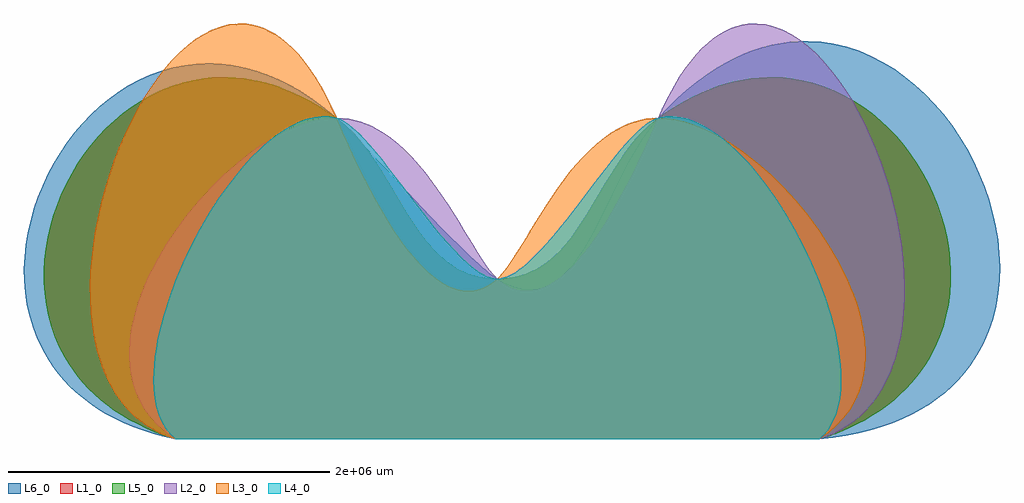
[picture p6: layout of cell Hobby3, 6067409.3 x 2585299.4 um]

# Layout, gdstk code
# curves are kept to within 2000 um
import gdstk
lib = gdstk.Library(unit=1e-6, precision=1e-07)
def P(c, l, *ps):  # polygons
    for p in ps: c.add(gdstk.Polygon(p, *l))
L1_0 = (1, 0)
L2_0 = (2, 0)
L3_0 = (3, 0)
L4_0 = (4, 0)
L5_0 = (5, 0)
L6_0 = (6, 0)

hobby3 = lib.new_cell('Hobby3')
P(hobby3, L1_0, [(0,0),(-62580.6,20590.8),(-179523.3,67139.6),(-233950.8,92966.9),(-334881.4,149400.4),(-381449.9,179876),(-466956.5,245017.9),(-542507.3,315311.9),(-608363.6,390235),(-637738,429269.2),(-689542.8,510155.8),(-722449.1,573029.5),(-750380.1,637551.3),(-773446.1,703500.6),(-791757.5,770656.9),(-805424.6,838799.6),(-814557.6,907708.2),(-819266.7,977161.9),(-819662.4,1046940.4),(-815854.9,1116823),(-807954.4,1186589.1),(-796071.3,1256018.2),(-760798.2,1392982.9),(-737628.9,1460077.4),(-680775.9,1590388),(-610639.3,1714056.6),(-570865.2,1772848.8),(-482457.3,1883246.1),(-434043.9,1934410.1),(-382971.3,1982590.1),(-329349.8,2027565.7),(-273289.6,2069116.2),(-214901.1,2107021.1),(-154294.5,2141059.9),(-91580.1,2171011.9),(-26868.2,2196656.5),(39730.9,2217773.3),(108107,2234141.6),(178149.7,2245540.8),(273941.8,2252628.9),(372239.5,2249968.2),(472781.1,2237035.9),(575305.4,2213309),(627229.3,2197234.3),(732237.3,2156335.4),(838574.3,2103334.9),(945979,2037710),(1000000,2000000),(1056758.7,1953952.9),(1109274.3,1902358.7),(1158135.4,1846072.5),(1203930.6,1785949.5),(1268162.6,1690441.8),(1447280.9,1392528.8),(1509082.9,1299048.6),(1575244,1213290.9),(1610579.8,1174209.8),(1687004,1105447.3),(1728588.9,1076487.4),(1788091.1,1044306.9),(1819745.9,1031214.1),(1887230.8,1011557.8),(1960773.3,1001319.8),(2000000,1000000),(2039226.7,1001319.8),(2112769.2,1011557.8),(2147232,1020262.1),(2211908.9,1044306.9),(2271411.1,1076487.4),(2312996,1105447.3),(2389420.2,1174209.8),(2458505.6,1255024),(2552719.1,1392528.8),(2731837.4,1690441.8),(2796069.4,1785949.5),(2841864.6,1846072.5),(2890725.7,1902358.7),(2943241.3,1953952.9),(3000000,2000000),(3107840.5,2072133.2),(3161425.7,2103334.9),(3267762.7,2156335.4),(3320449.2,2178264.9),(3424694.6,2213309),(3476188.3,2226554.5),(3577753.9,2244818.7),(3677206.2,2252549.9),(3774283.8,2250270.8),(3891893,2234141.6),(3960269.1,2217773.3),(4026868.2,2196656.5),(4091580.1,2171011.9),(4154294.5,2141059.9),(4214901.1,2107021.1),(4273289.6,2069116.2),(4329349.8,2027565.7),(4382971.3,1982590.1),(4482457.3,1883246.1),(4528101.2,1829318.9),(4610639.3,1714056.6),(4647312.9,1653162.8),(4710918,1525952.6),(4760798.2,1392982.9),(4780315.8,1324889.6),(4807954.4,1186589.1),(4815854.9,1116823),(4819662.4,1046940.4),(4819266.7,977161.9),(4814557.6,907708.2),(4805424.6,838799.6),(4791757.5,770656.9),(4773446.1,703500.6),(4750380.1,637551.3),(4722449.1,573029.5),(4689542.8,510155.8),(4637738,429269.2),(4576630.9,352227.5),(4505960,279553.6),(4425464,211770.3),(4334881.4,149400.4),(4233950.8,92966.9),(4122410.8,42992.5),(4000000,0)])
P(hobby3, L2_0, [(0,0),(-58731.2,41707.7),(-110227.4,86722.9),(-154720.8,134818.1),(-192443.6,185765.8),(-223627.9,239338.4),(-248506.1,295308.2),(-267310.2,353447.9),(-280272.4,413529.9),(-286300.1,459729),(-289270.3,506796.7),(-286430,603153.6),(-280815.5,652250.8),(-261687.5,751802.9),(-248369.9,802065.7),(-214717.3,903085),(-172361.1,1004122.4),(-122085.1,1104410.1),(-64672.9,1203179.9),(-908.2,1299663.9),(68425.5,1393094.2),(142544.5,1482702.8),(220665.1,1567721.7),(302003.7,1647382.8),(385776.7,1720918.3),(471200.3,1787560.2),(557491.1,1846540.4),(615112.9,1881224.8),(729539.1,1938444),(785879,1960523.7),(841327.3,1977946.7),(895651.7,1990485.4),(948620,1997912.4),(1000000,2000000),(1038902.2,1997966.5),(1114131.1,1985192.3),(1186004.5,1961740.7),(1254617,1928730.4),(1335940.7,1875729.9),(1427257.8,1797798.1),(1470443.9,1754070.7),(1552070.1,1659452.5),(1627634,1558429.4),(1697454.4,1454777),(1909474.2,1113237.5),(1971558.9,1029219.2),(2000000,1000000),(2031161.5,975139.9),(2062408.9,955378.5),(2093710.4,940515.1),(2125034.3,930349.1),(2156349,924679.7),(2187622.6,923306.3),(2249919.8,932644.9),(2296299.1,949433.4),(2342264.8,973856.2),(2387710,1005236.1),(2432527.5,1042895.9),(2476610.3,1086158.2),(2562143.3,1186781.6),(2643452.5,1301688.6),(2755623.1,1488978.8),(2822625.4,1615891.1),(2882405.9,1738124.1),(3032247.5,2070860.7),(3065042.7,2136663.5),(3132114.9,2253499.7),(3200894.3,2351318.2),(3271058.5,2430928.6),(3342285.2,2493140.5),(3378196.2,2517975),(3450412.2,2555607),(3486636.6,2568607),(3559116.7,2583480.9),(3613345.5,2585299.4),(3667310.8,2579494.4),(3720876.4,2566407.4),(3773906.4,2546380),(3826264.9,2519753.6),(3877815.8,2486869.9),(3928423.2,2448070.3),(3977951,2403696.5),(4026263.3,2354089.9),(4073224.2,2299592.2),(4118697.5,2240544.9),(4204637.7,2110167.4),(4244832.7,2039520.4),(4318992.2,1889017.6),(4383938.1,1728513.4),(4438582.4,1560740.1),(4481837.3,1388430),(4498853.7,1301427.6),(4522984.6,1127435.6),(4533006.3,955737.9),(4527830.8,789066.7),(4519204.2,708469.9),(4506370.4,630154.3),(4489193.3,554461.7),(4459299.4,458208.3),(4421120.1,368034.6),(4374333,284750),(4318615.9,209164.1),(4253646.4,142086.6),(4179102.1,84327),(4094660.8,36695),(4000000,0)])
P(hobby3, L3_0, [(0,0),(-48628,16929.7),(-138138.7,59194.5),(-179102.1,84327),(-253646.4,142086.6),(-287307.9,174511.2),(-347610.9,245944.1),(-398822.7,325480.5),(-441265.5,412310.9),(-459299.4,458208.3),(-489193.3,554461.7),(-506370.4,630154.3),(-519204.2,708469.9),(-527830.8,789066.7),(-533006.3,955737.9),(-529827.1,1041129.2),(-512614.8,1214315.6),(-481837.3,1388430),(-461701.6,1474981.4),(-412616,1645364.6),(-383938.1,1728513.4),(-318992.2,1889017.6),(-244832.7,2039520.4),(-204637.7,2110167.4),(-118697.5,2240544.9),(-73224.2,2299592.2),(-26263.3,2354089.9),(22049,2403696.5),(71576.8,2448070.3),(122184.2,2486869.9),(173735.1,2519753.6),(226093.6,2546380),(279123.6,2566407.4),(332689.2,2579494.4),(386654.5,2585299.4),(440883.3,2583480.9),(513363.4,2568607),(549587.8,2555607),(621803.8,2517975),(657714.8,2493140.5),(728941.5,2430928.6),(764176.6,2393348.8),(833688.7,2304735.5),(867885.1,2253499.7),(934957.3,2136663.5),(967752.5,2070860.7),(1117594.1,1738124.1),(1177374.6,1615891.1),(1244376.9,1488978.8),(1356547.5,1301688.6),(1437856.7,1186781.6),(1523389.7,1086158.2),(1567472.5,1042895.9),(1612290,1005236.1),(1657735.2,973856.2),(1703700.9,949433.4),(1750080.2,932644.9),(1781176.6,926028.2),(1812377.4,923306.3),(1843651,924679.7),(1874965.7,930349.1),(1906289.6,940515.1),(1937591.1,955378.5),(1968838.5,975139.9),(2000000,1000000),(2028441.1,1029219.2),(2090525.8,1113237.5),(2302545.6,1454777),(2372366,1558429.4),(2447929.9,1659452.5),(2487965.3,1707798.2),(2572742.2,1797798.1),(2664059.3,1875729.9),(2712270.2,1908990.3),(2779287.6,1946360.5),(2813995.5,1961740.7),(2885868.9,1985192.3),(2923058,1992984),(3000000,2000000),(3051380,1997912.4),(3104348.3,1990485.4),(3158672.7,1977946.7),(3214121,1960523.7),(3327460.3,1911935.2),(3442508.9,1846540.4),(3528799.7,1787560.2),(3614223.3,1720918.3),(3697996.3,1647382.8),(3779334.9,1567721.7),(3857455.5,1482702.8),(3931574.5,1393094.2),(4000908.2,1299663.9),(4064672.9,1203179.9),(4122085.1,1104410.1),(4194578.2,953649.4),(4232680.5,852525.1),(4261687.5,751802.9),(4280815.5,652250.8),(4289280.9,554636.9),(4286300.1,459729),(4280272.4,413529.9),(4267310.2,353447.9),(4248506.1,295308.2),(4223627.9,239338.4),(4192443.6,185765.8),(4154720.8,134818.1),(4110227.4,86722.9),(4058731.2,41707.7),(4000000,0)])
P(hobby3, L4_0, [(0,0),(-33627.8,31401.3),(-62283.5,67687.7),(-86122.1,108548.8),(-105298.9,153674.3),(-119969.1,202753.7),(-130287.7,255476.7),(-136410.1,311533),(-137493.7,416718.5),(-122040.4,562883.1),(-102009.2,665554.7),(-74806,771186.9),(-40954.4,878732.4),(-978.2,987143.6),(44598.9,1095373.1),(95253.2,1202373.4),(150460.9,1307097),(209698.2,1408496.3),(272441.4,1505524.1),(338166.8,1597132.6),(441200.9,1722093.2),(547998.8,1828968.7),(620415.5,1888425.8),(668927.6,1922208.3),(717446,1950944.2),(765815.6,1974323),(813881.2,1992034.6),(861487.7,2003768.4),(908479.7,2009214.2),(954702.2,2008061.5),(1000000,2000000),(1037998.6,1984256.8),(1100959.6,1939018.4),(1170090.7,1871908.4),(1244282.5,1787512.7),(1322425.9,1690417.6),(1569474.2,1368795.8),(1652332.4,1266763.3),(1733596.4,1174961.7),(1812157,1097977.1),(1886905,1040395.5),(1934071.1,1015051.9),(1956731.2,1006803),(2000000,1000000),(2043268.8,1006803),(2065928.9,1015051.9),(2113095,1040395.5),(2187843,1097977.1),(2266403.6,1174961.7),(2347667.6,1266763.3),(2430525.8,1368795.8),(2677574.1,1690417.6),(2755717.5,1787512.7),(2853570.1,1896425.5),(2920767.7,1956754.5),(2962001.4,1984256.8),(2981425.7,1993683.2),(3000000,2000000),(3045297.8,2008061.5),(3091520.3,2009214.2),(3138512.3,2003768.4),(3186118.8,1992034.6),(3234184.4,1974323),(3282554,1950944.2),(3331072.4,1922208.3),(3379584.5,1888425.8),(3452001.2,1828968.7),(3523530.7,1759902.4),(3593649.3,1682274.6),(3661833.2,1597132.6),(3727558.6,1505524.1),(3790301.8,1408496.3),(3849539.1,1307097),(3904746.8,1202373.4),(3955401.1,1095373.1),(4000978.2,987143.6),(4040954.4,878732.4),(4074806,771186.9),(4112954.1,613783.4),(4129202.7,512985),(4137493.7,416718.5),(4138491.4,370612.1),(4136410.1,311533),(4130287.7,255476.7),(4119969.1,202753.7),(4105298.9,153674.3),(4086122.1,108548.8),(4062283.5,67687.7),(4033627.8,31401.3),(4000000,0)])
P(hobby3, L5_0, [(0,0),(-62580.6,20590.8),(-179523.3,67139.6),(-233950.8,92966.9),(-334881.4,149400.4),(-381449.9,179876),(-466956.5,245017.9),(-542507.3,315311.9),(-608363.6,390235),(-637738,429269.2),(-689542.8,510155.8),(-722449.1,573029.5),(-750380.1,637551.3),(-773446.1,703500.6),(-791757.5,770656.9),(-805424.6,838799.6),(-814557.6,907708.2),(-819266.7,977161.9),(-819662.4,1046940.4),(-815854.9,1116823),(-807954.4,1186589.1),(-796071.3,1256018.2),(-760798.2,1392982.9),(-737628.9,1460077.4),(-680775.9,1590388),(-610639.3,1714056.6),(-570865.2,1772848.8),(-482457.3,1883246.1),(-434043.9,1934410.1),(-382971.3,1982590.1),(-329349.8,2027565.7),(-273289.6,2069116.2),(-214901.1,2107021.1),(-154294.5,2141059.9),(-91580.1,2171011.9),(-26868.2,2196656.5),(39730.9,2217773.3),(108107,2234141.6),(178149.7,2245540.8),(273941.8,2252628.9),(372239.5,2249968.2),(472781.1,2237035.9),(575305.4,2213309),(627229.3,2197234.3),(732237.3,2156335.4),(838574.3,2103334.9),(945979,2037710),(1000000,2000000),(1056758.7,1953952.9),(1109274.3,1902358.7),(1158135.4,1846072.5),(1203930.6,1785949.5),(1268162.6,1690441.8),(1447280.9,1392528.8),(1509082.9,1299048.6),(1575244,1213290.9),(1610579.8,1174209.8),(1687004,1105447.3),(1728588.9,1076487.4),(1788091.1,1044306.9),(1819745.9,1031214.1),(1887230.8,1011557.8),(1960773.3,1001319.8),(2000000,1000000),(2039226.7,1001319.8),(2112769.2,1011557.8),(2147232,1020262.1),(2211908.9,1044306.9),(2271411.1,1076487.4),(2312996,1105447.3),(2389420.2,1174209.8),(2458505.6,1255024),(2552719.1,1392528.8),(2731837.4,1690441.8),(2796069.4,1785949.5),(2841864.6,1846072.5),(2890725.7,1902358.7),(2943241.3,1953952.9),(3000000,2000000),(3107840.5,2072133.2),(3161425.7,2103334.9),(3267762.7,2156335.4),(3320449.2,2178264.9),(3424694.6,2213309),(3476188.3,2226554.5),(3577753.9,2244818.7),(3677206.2,2252549.9),(3774283.8,2250270.8),(3891893,2234141.6),(3960269.1,2217773.3),(4026868.2,2196656.5),(4091580.1,2171011.9),(4154294.5,2141059.9),(4214901.1,2107021.1),(4273289.6,2069116.2),(4329349.8,2027565.7),(4382971.3,1982590.1),(4482457.3,1883246.1),(4528101.2,1829318.9),(4610639.3,1714056.6),(4647312.9,1653162.8),(4710918,1525952.6),(4760798.2,1392982.9),(4780315.8,1324889.6),(4807954.4,1186589.1),(4815854.9,1116823),(4819662.4,1046940.4),(4819266.7,977161.9),(4814557.6,907708.2),(4805424.6,838799.6),(4791757.5,770656.9),(4773446.1,703500.6),(4750380.1,637551.3),(4722449.1,573029.5),(4689542.8,510155.8),(4637738,429269.2),(4576630.9,352227.5),(4505960,279553.6),(4425464,211770.3),(4334881.4,149400.4),(4233950.8,92966.9),(4122410.8,42992.5),(4000000,0)])
P(hobby3, L6_0, [(0,0),(-71614.3,16608.3),(-205428.5,56514.1),(-267707,79654.4),(-383203.3,131917),(-436499.7,160882),(-534385.5,224086.5),(-579053.5,258168.9),(-660036.2,330900.7),(-696429.5,369393),(-761216.3,450237.4),(-789688.6,492432.3),(-827605.9,557719.5),(-859891.9,625164.6),(-886679.2,694502.6),(-908100.4,765467.9),(-924288.2,837795.5),(-935375.3,911220.1),(-941494.2,985476.3),(-942777.5,1060299),(-939358,1135422.8),(-931368.1,1210582.6),(-918940.7,1285513),(-902208.2,1359948.8),(-881303.4,1433624.7),(-856358.8,1506275.4),(-827507.1,1577635.8),(-794880.9,1647440.4),(-758612.9,1715424.2),(-718835.6,1781321.8),(-675681.7,1844867.9),(-629283.9,1905797.3),(-579774.8,1963844.8),(-527287,2018745),(-471953,2070232.7),(-413905.7,2118042.6),(-353277.6,2161909.5),(-290201.2,2201568.2),(-224809.4,2236753.3),(-157234.6,2267199.6),(-87609.5,2292641.8),(-16066.8,2312814.7),(57260.9,2327453),(132241,2336291.5),(234555.7,2338595.6),(339257.7,2329488.5),(446032.8,2308341.5),(554566.5,2274525.7),(664544.4,2227412.5),(775652.3,2166372.9),(887575.6,2090778.4),(943744.8,2047326.5),(1047185.8,1955798.7),(1152883.3,1847734.2),(1670185.6,1298620.5),(1795917.2,1172869.5),(1883027.9,1091501.2),(1947401.9,1037108.9),(2000000,1000000),(2076574.8,961365.5),(2147208,939874.6),(2180460.3,935151),(2243163.8,936933.8),(2272746,943114.5),(2315091.5,958539.4),(2355200.4,980860.7),(2393293.5,1009528.8),(2429592.1,1043994.4),(2464317.2,1083708.1),(2529931.1,1176682.3),(2591903.9,1284056),(2805669.5,1709805.7),(2896900.7,1864893),(2946704.8,1935595.2),(3000000,2000000),(3118005,2119986),(3236306.4,2221122.7),(3295443.3,2264872.6),(3413439.7,2339235.4),(3472199.1,2370048.2),(3588990.3,2419436.7),(3646922.3,2438212.4),(3761608.6,2464426.4),(3818263.1,2472064.7),(3929944.7,2476904),(4012085.2,2471794.4),(4092648.8,2459569.2),(4171467,2440565.8),(4248371.1,2415121.6),(4323192.2,2383574.2),(4395761.6,2346260.9),(4465910.7,2303519.3),(4533470.7,2255686.7),(4598272.9,2203100.7),(4660148.5,2146098.7),(4718928.9,2085018.2),(4774445.2,2020196.5),(4826528.8,1951971.2),(4875010.9,1880679.7),(4919722.9,1806659.5),(4960495.9,1730248),(4997161.3,1651782.6),(5029550.3,1571600.9),(5057494.2,1490040.3),(5080824.3,1407438.3),(5099371.8,1324132.2),(5112968.1,1240459.6),(5121444.3,1156757.9),(5124631.8,1073364.5),(5122361.9,990617),(5114465.7,908852.8),(5100774.6,828409.2),(5081119.9,749623.9),(5055332.8,672834.2),(5023244.6,598377.6),(4984686.6,526591.5),(4939490,457813.4),(4905587.6,413799.1),(4828506.3,330631.1),(4738723.2,254610.4),(4635838.5,186536.9),(4519452.1,127210.5),(4389164.1,77431.1),(4318682,56371.5),(4166791.8,22412.4),(4000000,0)])

lib.write_gds('Hobby3.gds')
